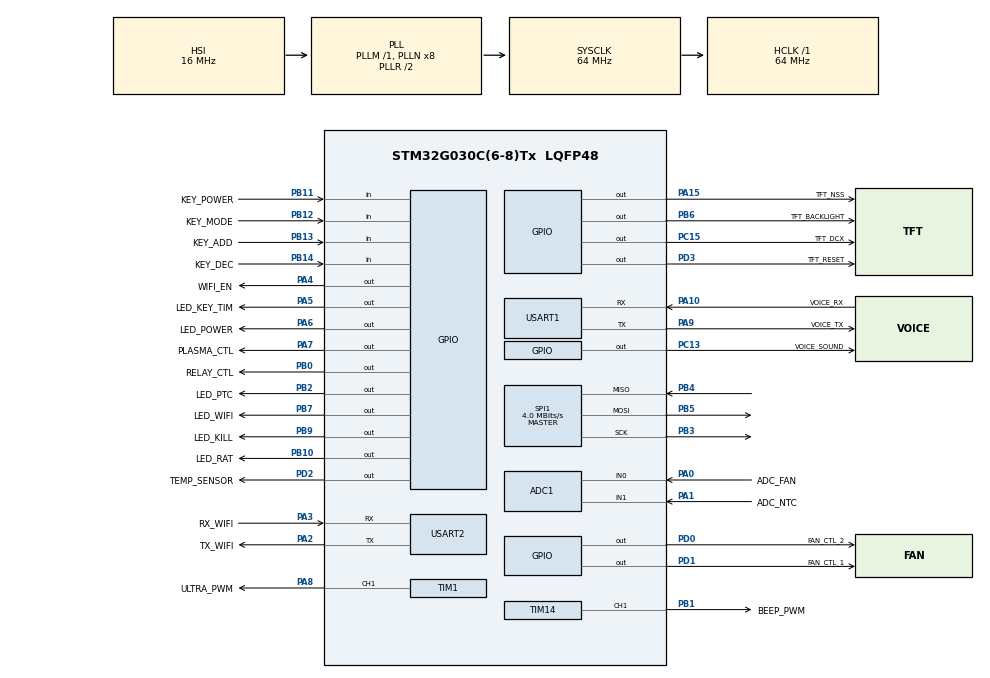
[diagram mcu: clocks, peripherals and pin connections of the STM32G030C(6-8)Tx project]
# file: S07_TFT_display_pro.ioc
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ADC1.Channel-0\#ChannelRegularConversion=ADC_CHANNEL_0
ADC1.NbrOfConversionFlag=1
ADC1.Rank-0\#ChannelRegularConversion=1
ADC1.SamplingTime-0\#ChannelRegularConversion=ADC_SAMPLINGTIME_COMMON_1
ADC1.SelectedChannel=ADC_CHANNEL_0|ADC_CHANNEL_1
ADC1.master=1
Dma.Request0=SPI1_TX
Dma.SPI1_TX.0.Direction=DMA_MEMORY_TO_PERIPH
Dma.SPI1_TX.0.EventEnable=DISABLE
Dma.SPI1_TX.0.Instance=DMA1_Channel1
Dma.SPI1_TX.0.MemDataAlignment=DMA_MDATAALIGN_BYTE
Dma.SPI1_TX.0.MemInc=DMA_MINC_ENABLE
Dma.SPI1_TX.0.Mode=DMA_NORMAL
Dma.SPI1_TX.0.PeriphDataAlignment=DMA_PDATAALIGN_BYTE
Dma.SPI1_TX.0.PeriphInc=DMA_PINC_DISABLE
Dma.SPI1_TX.0.Polarity=HAL_DMAMUX_REQ_GEN_RISING
Dma.SPI1_TX.0.Priority=DMA_PRIORITY_LOW
Dma.SPI1_TX.0.RequestNumber=1
Dma.SPI1_TX.0.SignalID=NONE
Dma.SPI1_TX.0.SyncEnable=DISABLE
Dma.SPI1_TX.0.SyncPolarity=HAL_DMAMUX_SYNC_NO_EVENT
Dma.SPI1_TX.0.SyncRequestNumber=1
Dma.SPI1_TX.0.SyncSignalID=NONE
IWDG.Prescaler=IWDG_PRESCALER_8
Mcu.Family=STM32G0
Mcu.Name=STM32G030C(6-8)Tx
Mcu.Package=LQFP48
NVIC.DMA1_Channel1_IRQn=true\:0\:0\:false\:false\:true\:false\:true\:true
NVIC.TIM17_IRQn=true\:0\:0\:false\:false\:true\:true\:true\:true
NVIC.USART1_IRQn=true\:0\:0\:false\:false\:true\:true\:true\:true
NVIC.USART2_IRQn=true\:0\:0\:false\:false\:true\:true\:true\:true
PA0.GPIO_Label=ADC_FAN
PA0.Mode=IN0
PA0.Signal=ADC1_IN0
PA1.GPIO_Label=ADC_NTC
PA1.Mode=IN1
PA1.Signal=ADC1_IN1
PA10.GPIO_Label=VOICE_RX
PA10.Mode=Asynchronous
PA10.Signal=USART1_RX
PA13.Mode=Serial_Wire
PA13.Signal=SYS_SWDIO
PA14-BOOT0.Mode=Serial_Wire
PA14-BOOT0.Signal=SYS_SWCLK
PA15.GPIO_Label=TFT_NSS
PA15.Signal=GPIO_Output
PA2.GPIO_Label=TX_WIFI
PA2.Mode=Asynchronous
PA2.Signal=USART2_TX
PA3.GPIO_Label=RX_WIFI
PA3.Mode=Asynchronous
PA3.Signal=USART2_RX
PA4.GPIO_Label=WIFI_EN
PA4.Signal=GPIO_Output
PA5.GPIO_Label=LED_KEY_TIM
PA5.Signal=GPIO_Output
PA6.GPIO_Label=LED_POWER
PA6.Signal=GPIO_Output
PA7.GPIO_Label=PLASMA_CTL
PA7.Signal=GPIO_Output
PA8.GPIO_Label=ULTRA_PWM
PA8.Signal=S_TIM1_CH1
PA9.GPIO_Label=VOICE_TX
PA9.Mode=Asynchronous
PA9.Signal=USART1_TX
PB0.GPIO_Label=RELAY_CTL
PB0.Signal=GPIO_Output
PB1.GPIO_Label=BEEP_PWM
PB1.Signal=S_TIM14_CH1
PB10.GPIO_Label=LED_RAT
PB10.Signal=GPIO_Output
PB11.GPIO_Label=KEY_POWER
PB11.Signal=GPIO_Input
PB12.GPIO_Label=KEY_MODE
PB12.Signal=GPIO_Input
PB13.GPIO_Label=KEY_ADD
PB13.Signal=GPIO_Input
PB14.GPIO_Label=KEY_DEC
PB14.Signal=GPIO_Input
PB2.GPIO_Label=LED_PTC
PB2.Signal=GPIO_Output
PB3.Mode=Full_Duplex_Master
PB3.Signal=SPI1_SCK
PB4.Mode=Full_Duplex_Master
PB4.Signal=SPI1_MISO
PB5.Mode=Full_Duplex_Master
PB5.Signal=SPI1_MOSI
PB6.GPIO_Label=TFT_BACKLIGHT
PB6.Signal=GPIO_Output
PB7.GPIO_Label=LED_WIFI
PB7.Signal=GPIO_Output
PB9.GPIO_Label=LED_KILL
PB9.Signal=GPIO_Output
PC13.GPIO_Label=VOICE_SOUND
PC13.Signal=GPIO_Output
PC15-OSC32_OUT\ (PC15).GPIO_Label=TFT_DCX
PC15-OSC32_OUT\ (PC15).Signal=GPIO_Output
PD0.GPIO_Label=FAN_CTL_2
PD0.Signal=GPIO_Output
PD1.GPIO_Label=FAN_CTL_1
PD1.Signal=GPIO_Output
PD2.GPIO_Label=TEMP_SENSOR
PD2.Signal=GPIO_Output
PD3.GPIO_Label=TFT_RESET
PD3.Signal=GPIO_Output
ProjectManager.HeapSize=0x200
ProjectManager.StackSize=0x400
ProjectManager.TargetToolchain=MDK-ARM V5.32
RCC.ADCFreq_Value=64000000
RCC.AHBFreq_Value=64000000
RCC.CortexFreq_Value=64000000
RCC.EXTERNAL_CLOCK_VALUE=12288000
RCC.HCLKFreq_Value=64000000
RCC.HSE_VALUE=8000000
RCC.HSI_VALUE=16000000
RCC.LSE_VALUE=32768
RCC.SYSCLKFreq_VALUE=64000000
RCC.SYSCLKSource=RCC_SYSCLKSOURCE_PLLCLK
RCC.VCOOutputFreq_Value=128000000
SH.S_TIM14_CH1.0=TIM14_CH1,PWM Generation1 CH1
SH.S_TIM1_CH1.0=TIM1_CH1,PWM Generation1 CH1
SPI1.BaudRatePrescaler=SPI_BAUDRATEPRESCALER_16
SPI1.CLKPhase=SPI_PHASE_2EDGE
SPI1.CLKPolarity=SPI_POLARITY_HIGH
SPI1.CalculateBaudRate=4.0 MBits/s
SPI1.Direction=SPI_DIRECTION_2LINES
SPI1.Mode=SPI_MODE_MASTER
SPI1.VirtualType=VM_MASTER
TIM1.Channel-PWM\ Generation1\ CH1=TIM_CHANNEL_1
TIM14.Channel=TIM_CHANNEL_1
USART1.VirtualMode-Asynchronous=VM_ASYNC
USART2.VirtualMode-Asynchronous=VM_ASYNC
VP_IWDG_VS_IWDG.Mode=IWDG_Activate
VP_TIM14_VS_ClockSourceINT.Mode=Enable_Timer
VP_TIM17_VS_ClockSourceINT.Mode=Enable_Timer
VP_TIM1_VS_ClockSourceINT.Mode=Internal
board=custom

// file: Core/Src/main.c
/* USER CODE BEGIN Header */
/**
  ******************************************************************************
  * @file           : main.c
  * @brief          : Main program body
  ******************************************************************************
  * @attention
  *
  * Copyright (c) 2024 STMicroelectronics.
  * All rights reserved.
  *
  * This software is licensed under terms that can be found in the LICENSE file
  * in the root directory of this software component.
  * If no LICENSE file comes with this software, it is provided AS-IS.
  *
  ******************************************************************************
  */
/* USER CODE END Header */
#include "main.h"
#include "adc.h"
#include "iwdg.h"
#include "spi.h"
#include "tim.h"
#include "usart.h"
#include "gpio.h"

/* USER CODE BEGIN Includes */
#include "bsp.h"
/* USER CODE END Includes */

/* USER CODE BEGIN PTD */
uint8_t keyvalue;
/* USER CODE END PTD */

void SystemClock_Config(void);

int main(void)
{

  /* MCU Configuration--------------------------------------------------------*/

  /* Reset of all peripherals, Initializes the Flash interface and the Systick. */
  HAL_Init();

  /* Configure the system clock */
  SystemClock_Config();

  /* Initialize all configured peripherals */
  MX_GPIO_Init();
  MX_ADC1_Init();
  MX_IWDG_Init();
  MX_SPI1_Init();
  MX_TIM1_Init();
  MX_TIM14_Init();
  MX_TIM17_Init();
  MX_USART1_UART_Init();
  MX_USART2_UART_Init();
  /* USER CODE BEGIN 2 */
  delay_init(64);
  bsp_ctl_init();
  Wifi_Init();
  HAL_TIM_Base_Start_IT(&htim17);

  TFT_BACKLIGHT_OFF();

  HAL_UART_Receive_IT(&huart2,wifi_t.usart2_dataBuf,1);

  HAL_UART_Receive_IT(&huart1,voice_inputBuf,1);//HAL_UART_Receive_IT(&huart1,voice_inputBuf,8);
  pro_t.buzzer_sound_flag=1;
  TFT_LCD_Init();

  /* USER CODE END 2 */

  /* Infinite loop */
  while (1)
  {

    /* USER CODE BEGIN 3 */

	bsp_Idle();
    Voice_Decoder_Handler();
	TFT_Process_Handler();
    WIFI_Process_Handler();
	USART_Cmd_Error_Handler();
  }
  /* USER CODE END 3 */
}

void SystemClock_Config(void)
{
  RCC_OscInitTypeDef RCC_OscInitStruct = {0};
  RCC_ClkInitTypeDef RCC_ClkInitStruct = {0};

  /** Configure the main internal regulator output voltage
  */
  HAL_PWREx_ControlVoltageScaling(PWR_REGULATOR_VOLTAGE_SCALE1);

  /** Initializes the RCC Oscillators according to the specified parameters
  * in the RCC_OscInitTypeDef structure.
  */
  RCC_OscInitStruct.OscillatorType = RCC_OSCILLATORTYPE_HSI|RCC_OSCILLATORTYPE_LSI;
  RCC_OscInitStruct.HSIState = RCC_HSI_ON;
  RCC_OscInitStruct.HSIDiv = RCC_HSI_DIV1;
  RCC_OscInitStruct.HSICalibrationValue = RCC_HSICALIBRATION_DEFAULT;
  RCC_OscInitStruct.LSIState = RCC_LSI_ON;
  RCC_OscInitStruct.PLL.PLLState = RCC_PLL_ON;
  RCC_OscInitStruct.PLL.PLLSource = RCC_PLLSOURCE_HSI;
  RCC_OscInitStruct.PLL.PLLM = RCC_PLLM_DIV1;
  RCC_OscInitStruct.PLL.PLLN = 8;
  RCC_OscInitStruct.PLL.PLLP = RCC_PLLP_DIV2;
  RCC_OscInitStruct.PLL.PLLR = RCC_PLLR_DIV2;
  if (HAL_RCC_OscConfig(&RCC_OscInitStruct) != HAL_OK)
  {
    Error_Handler();
  }

  /** Initializes the CPU, AHB and APB buses clocks
  */
  RCC_ClkInitStruct.ClockType = RCC_CLOCKTYPE_HCLK|RCC_CLOCKTYPE_SYSCLK
                              |RCC_CLOCKTYPE_PCLK1;
  RCC_ClkInitStruct.SYSCLKSource = RCC_SYSCLKSOURCE_PLLCLK;
  RCC_ClkInitStruct.AHBCLKDivider = RCC_SYSCLK_DIV1;
  RCC_ClkInitStruct.APB1CLKDivider = RCC_HCLK_DIV1;

  if (HAL_RCC_ClockConfig(&RCC_ClkInitStruct, FLASH_LATENCY_2) != HAL_OK)
  {
    Error_Handler();
  }
}

void Error_Handler(void)
{
  /* USER CODE BEGIN Error_Handler_Debug */
  /* User can add his own implementation to report the HAL error return state */
  __disable_irq();
  while (1)
  {
  	pro_t.spi_error_flag = 0xff;
  }
  /* USER CODE END Error_Handler_Debug */
}
